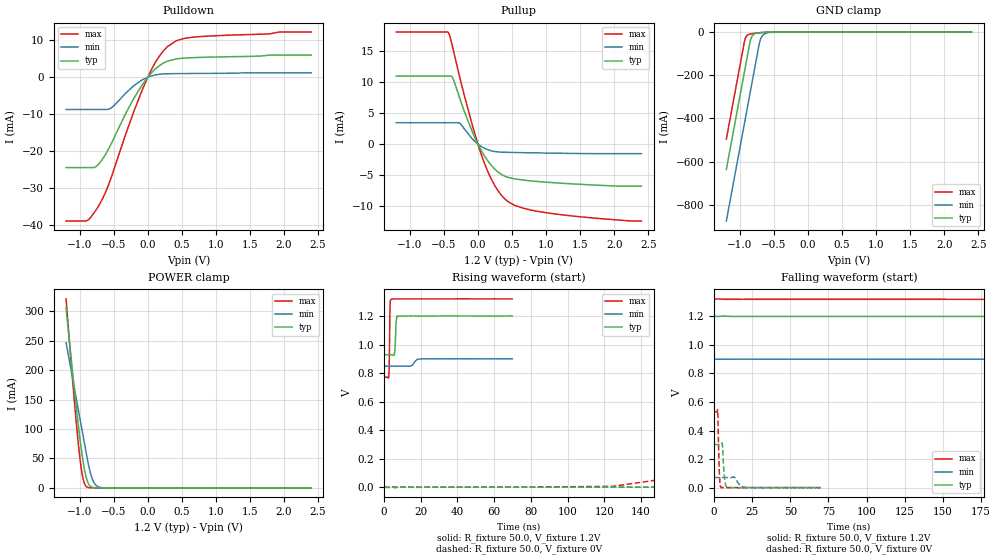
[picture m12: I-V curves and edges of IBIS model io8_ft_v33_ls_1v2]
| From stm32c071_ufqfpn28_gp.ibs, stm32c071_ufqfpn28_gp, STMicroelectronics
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[Model]   io8_ft_v33_ls_1v2
Model_type I/O
Polarity   Non-Inverting
Enable   Active-Low
| CAP_THRESHOLD on pad IOFT is "UDTCAPC" :
| Rising=30.0% of vddiom   Falling=70.0% of vddiom
| C_comp min and max val. don't necessarily correlate with the min and max pvt
| but are the smallest and greatest pad capacitance found.
| var   typ   min   max
C_comp   1.66174pF  1.65931pF  1.68760pF
|C_comp_pullup   923.33500fF  960.72000fF  949.76500fF
|C_comp_pulldown   738.40503fF  698.58501fF  737.83001fF
Vinl = 450.0mV
Vinh = 660.0mV
Vmeas = 600.0mV   | Reference voltage for timing measurements
Cref  = 50.0pF   | Timing specification test load capacitance value
Rref  = 1.0MOhm   | Timing specification test load resistance value
Vref  = 660.0mV   | Timing specification test load voltage
[Model Spec]
| TIME_THRESHOLD on pin ZIV33M is "CMOS" :
| Rising=50.0% of vddiom   Falling=50.0% of vddiom
Vinl 458.70000mV 361.70000mV 499.70000mV
Vinh 728.30000mV 549.30000mV 792.30000mV
| variable   typ   min   max
[Temperature Range] 25.0 125.0 -40.0
| variable   typ   min   max
[Voltage Range] 1.2V 900.0mV 1.32V
| variable   typ   min   max
[POWER Clamp Reference] 1.2V 900.0mV 1.32V
| variable   typ   min   max
[GND Clamp Reference] 0V 0V 0V
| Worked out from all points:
|   slope of the pulldown table from 0 to 0.18 V, typ, clamps not added: 55.6 ohm
|   slope of the pullup table from 0 to 0.18 V, typ, clamps not added: 56.3 ohm
|   GND clamp passes 1 mA (typ) near -0.61 V on its own axis
|   POWER clamp passes 1 mA (typ) near -0.81 V on its own axis
|   rising waveform, R_fixture 50.0, V_fixture 1.2V: 20-80 % time 539ps typ, 1.89ns min, 335ps max; typ from 0.928 V to 1.2 V
|   falling waveform, R_fixture 50.0, V_fixture 1.2V: 20-80 % time 341ns typ, 1.08us min, 190ns max; typ from 1.2 V to 0.928 V
|   rising waveform, R_fixture 50.0, V_fixture 0V: 20-80 % time 268ns typ, 585ns min, 161ns max; typ from 0 V to 0.302 V
|   falling waveform, R_fixture 50.0, V_fixture 0V: 20-80 % time 1.14ns typ, 3.02ns min, 775ps max; typ from 0.302 V to -0.001 V
[POWER Clamp]
-1.2V     306.2mA    246.9mA    321.2mA
-1.09V    180mA      177.2mA    163.4mA
-1.05V    136.9mA    151.8mA    110.9mA
-1.01V    96.55mA    126.4mA    64.02mA
-960mV    52.29mA    94.73mA    20.68mA
-930mV    31.08mA    75.71mA    7.282mA
-900mV    15.67mA    56.69mA    2.025mA
-860mV    4.779mA    33.42mA    315.2uA
-810mV    823.2uA    13.62mA    29.21uA
-760mV    129.2uA    4.248mA    2.687uA
-690mV    9.442uA    651.7uA    95.02nA
2.4V      0A         0A         0A
[GND Clamp]
-1.2V     -636.9mA   -875.6mA   -495.8mA
-940mV    -194.9mA   -433.6mA   -53.78mA
-920mV    -160.9mA   -399.6mA   -28.06mA
-890mV    -109.9mA   -348.6mA   -14.28mA
-850mV    -43.09mA   -280.6mA   -9.18mA
-830mV    -23.96mA   -246.6mA   -8.001mA
-790mV    -9.264mA   -178.6mA   -6.254mA
-710mV    -3.12mA    -46.23mA   -3.486mA
-680mV    -2.303mA   -22.08mA   -2.625mA
-650mV    -1.674mA   -11.03mA   -1.876mA
-450mV    -34.83uA   -165.4uA   -17.32uA
2.4V      336.3pA    36.26nA    239.5pA
| variable   typ   min   max
[Pullup Reference] 1.2V 900.0mV 1.32V
| variable   typ   min   max
[Pulldown Reference] 0V 0V 0V
[Pullup]
-1.2V     10.94mA    3.44mA     18.03mA
-430mV    10.94mA    3.44mA     17.9mA
-370mV    10.62mA    3.44mA     15.52mA
-270mV    7.48mA     3.387mA    10.91mA
-80mV     1.904mA    795.7uA    2.965mA
60mV      -1.233mA   -444.5uA   -2mA
150mV     -2.769mA   -922.8uA   -4.531mA
240mV     -3.942mA   -1.186mA   -6.527mA
430mV     -5.313mA   -1.325mA   -9.149mA
670mV     -5.799mA   -1.382mA   -10.34mA
1.04V     -6.162mA   -1.45mA    -11.11mA
2.4V      -6.767mA   -1.538mA   -12.38mA
[Pulldown]
-1.2V     -24.47mA   -8.75mA    -38.94mA
-890mV    -24.47mA   -8.75mA    -38.83mA
-780mV    -24.4mA    -8.75mA    -36.48mA
-710mV    -23.27mA   -8.75mA    -34.44mA
-530mV    -17.77mA   -8.214mA   -26.77mA
-330mV    -10.03mA   -4.427mA   -15.71mA
-80mV     -2.009mA   -705.3uA   -3.396mA
110mV     2.198mA    601.5uA    3.95mA
290mV     4.348mA    923.5uA    8.288mA
420mV     4.961mA    964.1uA    9.88mA
670mV     5.29mA     1.001mA    10.83mA
2.4V      5.965mA    1.157mA    12.22mA
[Ramp]
dV/dt_r 181.30757mV/268.30128ns 42.41573mV/585.16117ns 319.11348mV/161.14125ns
dV/dt_f 162.93162mV/340.82436ns 30.59427mV/1.07641us 329.53709mV/189.60566ns
R_load = 50.0
| Removed startup time: 0s 0s 0s  .
| Removed end time: 69.85ns.
[Rising Waveform]
R_fixture   = 50.0
V_fixture   = 1.2V
V_fixture_min = 900.0mV
V_fixture_max = 1.32V
0s        928.4mV    849mV      770.7mV
2.6ns     928.5mV    849mV      771.7mV
2.85ns    928.4mV    849mV      839.3mV
3.2ns     928.4mV    849mV      1.184V
3.4ns     928.5mV    849mV      1.297V
4ns       928.6mV    849mV      1.317V
5.95ns    955.4mV    849mV      1.32V
6.65ns    1.163V     849mV      1.32V
7.1ns     1.2V       849mV      1.32V
69.85ns   1.2V       900.3mV    1.32V
| Removed startup time: 0s 0s 0s  .
| Removed end time: 6.999us.
[Falling Waveform]
R_fixture   = 50.0
V_fixture   = 1.2V
V_fixture_min = 900.0mV
V_fixture_max = 1.32V
0s        1.2V       900mV      1.32V
265ns     1.2V       900mV      1.289V
497ns     1.175V     900mV      887.3mV
627ns     1.106V     900mV      811mV
752ns     1.039V     900mV      785.4mV
841ns     992.6mV    900mV      778.8mV
1.126us   942.9mV    899.6mV    771.8mV
1.426us   931mV      899mV      770.8mV
3.367us   928.5mV    852.7mV    770.7mV
6.999us   928.4mV    849mV      770.8mV
| Removed startup time: 0s 0s 0s  .
| Removed end time: 6.999us.
[Rising Waveform]
R_fixture   = 50.0
V_fixture   = 0V
V_fixture_min = 0V
V_fixture_max = 0V
0s        428.8nV    568.5nV    4.718uV
125ns     371.4uV    -5.755uV   6.96mV
188ns     3.009mV    19.15uV    122.4mV
272ns     34.49mV    -11.67uV   324.4mV
356ns     90.65mV    108.2uV    448.5mV
468ns     181.9mV    421.9uV    512.8mV
570ns     236.8mV    707.7uV    526.4mV
926ns     302.1mV    17.39mV    532.2mV
1.792us   302.1mV    67.03mV    532.1mV
6.999us   302.2mV    70.69mV    531.9mV
| Removed startup time: 0s 0s 0s  .
| Removed end time: 69.85ns.
[Falling Waveform]
R_fixture   = 50.0
V_fixture   = 0V
V_fixture_min = 0V
V_fixture_max = 0V
0s        302.1mV    70.68mV    532mV
2.3ns     302.1mV    70.68mV    546.7mV
3.5ns     302.1mV    70.68mV    92.25mV
4ns       302mV      70.68mV    12.62mV
4.7ns     301.8mV    70.68mV    -1.548mV
5.55ns    293.7mV    70.68mV    2.543mV
7ns       54.5mV     70.69mV    612.7uV
9ns       -763.8uV   70.63mV    -405.6uV
22.1ns    470.8uV    311.3uV    -280.4uV
69.85ns   -508.6uV   -61.57uV   369.8uV
